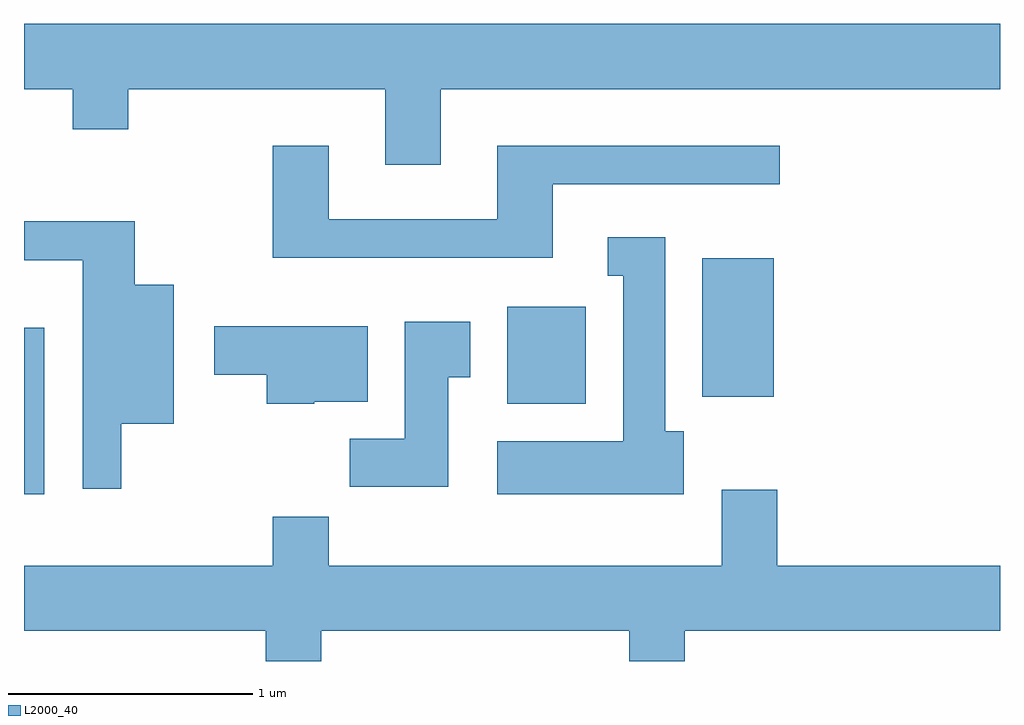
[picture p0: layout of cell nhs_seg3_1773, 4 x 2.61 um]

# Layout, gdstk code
import gdstk
lib = gdstk.Library(unit=1e-6, precision=1e-09)
def R(c, l, rs):  # rectangles x0, y0, x1, y1
    for r in rs: c.add(gdstk.rectangle(r[:2], r[2:], *l))
def P(c, l, *ps):  # polygons
    for p in ps: c.add(gdstk.Polygon(p, *l))
L2000_40 = (2000, 40)

nhs_seg3_1773 = lib.new_cell('nhs_seg3_1773')
R(nhs_seg3_1773, L2000_40, [(237.611,1126.576,237.694,1127.259), (239.591,1126.946,239.914,1127.344), (240.391,1126.976,240.684,1127.544)])
P(nhs_seg3_1773, L2000_40, [(239.319,1128.236),(241.611,1128.236),(241.611,1128.504),(237.611,1128.504),(237.611,1128.236),(237.811,1128.236),(237.811,1128.071),(238.039,1128.071),(238.039,1128.236),(239.091,1128.236),(239.091,1127.926),(239.319,1127.926)],
  [(239.779,1127.846),(240.708,1127.846),(240.708,1128.004),(239.551,1128.004),(239.551,1127.704),(238.859,1127.704),(238.859,1128.004),(238.631,1128.004),(238.631,1127.546),(239.779,1127.546)],
  [(238.009,1126.866),(238.224,1126.866),(238.224,1127.434),(238.064,1127.434),(238.064,1127.694),(237.611,1127.694),(237.611,1127.536),(237.851,1127.536),(237.851,1126.598),(238.009,1126.598)],
  [(240.314,1126.834),(240.239,1126.834),(240.239,1127.629),(240.003,1127.629),(240.003,1127.471),(240.066,1127.471),(240.066,1126.794),(239.551,1126.794),(239.551,1126.576),(240.314,1126.576)],
  [(239.349,1127.056),(239.439,1127.056),(239.439,1127.284),(239.171,1127.284),(239.171,1126.804),(238.946,1126.804),(238.946,1126.606),(239.349,1126.606)],
  [(238.8,1126.956),(239.019,1126.956),(239.019,1127.264),(238.391,1127.264),(238.391,1127.066),(238.606,1127.066),(238.606,1126.946),(238.8,1126.946)],
  [(238.829,1126.016),(240.091,1126.016),(240.091,1125.892),(240.319,1125.892),(240.319,1126.016),(241.611,1126.016),(241.611,1126.284),(240.699,1126.284),(240.699,1126.594),(240.471,1126.594),(240.471,1126.284),(238.859,1126.284),(238.859,1126.484),(238.631,1126.484),(238.631,1126.284),(237.611,1126.284),(237.611,1126.016),(238.601,1126.016),(238.601,1125.892),(238.829,1125.892)])

lib.write_gds('nhs_seg3_1773.gds')
